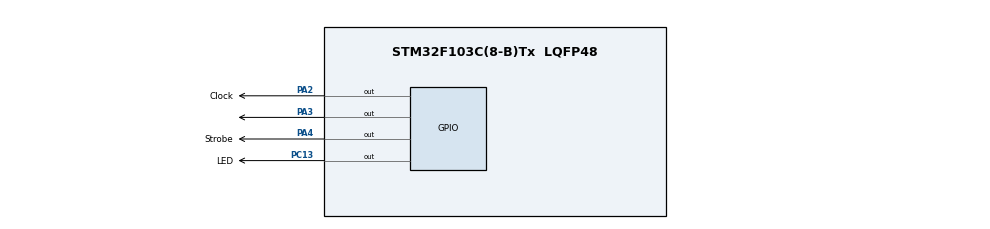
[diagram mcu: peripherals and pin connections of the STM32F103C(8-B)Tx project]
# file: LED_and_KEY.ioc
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Mcu.Family=STM32F1
Mcu.Name=STM32F103C(8-B)Tx
Mcu.Package=LQFP48
NVIC.PriorityGroup=NVIC_PRIORITYGROUP_4
PA13.Mode=Serial_Wire
PA13.Signal=SYS_JTMS-SWDIO
PA14.Mode=Serial_Wire
PA14.Signal=SYS_JTCK-SWCLK
PA2.GPIO_Label=Clock
PA2.Signal=GPIO_Output
PA3.Signal=GPIO_Output
PA4.GPIO_Label=Strobe
PA4.GPIO_PuPd=GPIO_PULLUP
PA4.Signal=GPIO_Output
PC13-TAMPER-RTC.GPIO_Label=LED
PC13-TAMPER-RTC.Signal=GPIO_Output
ProjectManager.HeapSize=0x200
ProjectManager.StackSize=0x400
ProjectManager.TargetToolchain=Makefile
RCC.APB1Freq_Value=8000000
RCC.APB2Freq_Value=8000000
board=custom

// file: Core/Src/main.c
/* USER CODE BEGIN Header */
/**
  ******************************************************************************
  * @file           : main.c
  * @brief          : Main program body
  ******************************************************************************
  * @attention
  *
  * <h2><center>&copy; Copyright (c) 2021 STMicroelectronics.
  * All rights reserved.</center></h2>
  *
  * This software component is licensed by ST under BSD 3-Clause license,
  * the "License"; You may not use this file except in compliance with the
  * License. You may obtain a copy of the License at:
  *                        opensource.org/licenses/BSD-3-Clause
  *
  ******************************************************************************
  */
/* USER CODE END Header */
#include "main.h"

void SystemClock_Config(void);
static void MX_GPIO_Init(void);

/* USER CODE BEGIN 0 */

// GPIO_PIN_2
#define CLOCK_PIN ((uint16_t)0x0004)
// GPIO_PIN_3
#define DATA_PIN ((uint16_t)0x0008)
// GPIO_PIN_4
#define CS_PIN ((uint16_t)0x0010)

void cs_high(){
  HAL_GPIO_WritePin(GPIOA, CS_PIN, GPIO_PIN_SET);
  HAL_Delay(10);
}

void cs_low(){
  HAL_GPIO_WritePin(GPIOA, CS_PIN, GPIO_PIN_RESET);
}

void clock_high(){
  HAL_GPIO_WritePin(GPIOA, CLOCK_PIN, GPIO_PIN_SET);
}

void clock_low(){
  HAL_GPIO_WritePin(GPIOA, CLOCK_PIN, GPIO_PIN_RESET);
}

// void send_byte(char data)
// {
//   for (int i = 0; i < 8; i++) {
//     digitalWrite(clockPin, LOW);
//     digitalWrite(dataPin, data & 1 ? HIGH : LOW);
//     data >>= 1;
//     digitalWrite(clockPin, HIGH);
//   }
// }

void send_byte(char data)
{
  for (int i = 0; i < 8; i++) {
    clock_low();

    HAL_GPIO_WritePin(GPIOA, DATA_PIN, data & 1 ? GPIO_PIN_SET : GPIO_PIN_RESET);

    data >>= 1;
    clock_high();
  }

  cs_low();
}

void send_byte_old(unsigned char b)
{
  unsigned char mask = 1;

  HAL_Delay(1);

  for (int i=0; i<8; i++){
    unsigned char d = b & mask;
    mask = mask << 1;

    // HAL_GPIO_WritePin(GPIOA, GPIO_PIN_4, GPIO_PIN_RESET);

    //HAL_GPIO_WritePin(GPIOA, GPIO_PIN_3, GPIO_PIN_SET);
    clock_low();

    if (d)
    {
      HAL_GPIO_WritePin(GPIOA, DATA_PIN, GPIO_PIN_SET);
    } else
    {
       HAL_GPIO_WritePin(GPIOA, DATA_PIN, GPIO_PIN_RESET);
    }

    clock_high();

    // HAL_Delay(1);
    //HAL_GPIO_WritePin(GPIOA, GPIO_PIN_3, GPIO_PIN_RESET);
    // HAL_Delay(1);
  }

  HAL_Delay(1);

  clock_low();
  HAL_GPIO_WritePin(GPIOA, DATA_PIN, GPIO_PIN_SET);
}

void fill(unsigned char data){
  cs_low();

  send_byte(0x40);
  send_byte(0xC0);

  for (int i=0; i<8; i++){
    send_byte(data);
    send_byte(0x0); //LED OFF
  }

  cs_high();
}

// void fill(char data){
//   send_byte(0x44);

//   for (int i=0; i<16; i++){
//     send_byte(0xC0 + i);
//     send_byte(data);
//   }
// }

void reset(){
  fill(0x0);
}

// 8-byte array
// void display(unsigned char data[]){

//   for (unsigned char i=0; i<8; i++){
//     unsigned char *pointer = data;
//     pointer += i;

//     send_byte(0x44);
//     send_byte(0xC0 + 2*i);
//     send_byte(*pointer);
//   }
// }

// 8-byte array
void display(unsigned char data[]){
  cs_low();

  send_byte(0x40);
  send_byte(0xC0);

  for (int i=0; i<8; i++){
    send_byte(data[i]);
    send_byte(0x0); //LED OFF
  }

  cs_high();
}

/* USER CODE END 0 */

int main(void)
{

  /* MCU Configuration--------------------------------------------------------*/

  /* Reset of all peripherals, Initializes the Flash interface and the Systick. */
  HAL_Init();

  /* Configure the system clock */
  SystemClock_Config();

  /* Initialize all configured peripherals */
  MX_GPIO_Init();

  /* Infinite loop */
  /* USER CODE BEGIN WHILE */
  // char n = 0;

//  char message[] = "Hello World!";

  // for (int i=0; i<sizeof(message); i++)
  // {
  //   send_byte(message[i]);
  // }

    HAL_Delay(100);

    HAL_GPIO_WritePin(GPIOA, GPIO_PIN_4, GPIO_PIN_RESET);

    send_byte(0x88); // 1/16 brightness

    // reset();

    // fill(0x7F);

    // send_byte(0x44); //Fixed address mode

    // send_byte(0xC0);
    // send_byte(0x00);
    //send_byte(0xFF);

    // HAL_GPIO_WritePin(GPIOA, GPIO_PIN_4, GPIO_PIN_SET);

    char n=0;

// unsigned char values[] = {0, 1, 2, 4, 8, 16, 32, 64, 128 };

unsigned char values[] = {0x3F, 0x06, 0x5B, 0x4F, 0x66, 0x6D, 0x7D, 0x07, 0x7F, 0x6F};

// HAL_GPIO_WritePin(GPIOA, GPIO_PIN_4, GPIO_PIN_SET);
    // send_byte(0x44);
    // send_byte(0xC0);
    // send_byte(values[0]);

    // send_byte(0x44);
    // send_byte(0xC2);
    // send_byte(values[1]);

  cs_low();
  clock_low();

  while (1)
  {
    /* USER CODE END WHILE */

    /* USER CODE BEGIN 3 */
    // send_byte(n);
    // unsigned char value = values[n];

    // display(values);
    // n++;

      // command_delay();

      // send_byte(0x40);
      // send_byte(0xCC);

      // send_byte(0x4F);
      // send_byte(0xFF);

      // command_delay();

      // send_byte(0x40);
      // send_byte(0xC2);
      // send_byte(0xFF);
      // send_byte(0x66);

      // command_delay();

      reset();
      // command_delay();

      HAL_Delay(500);

      display(values);

      // command_delay();

      HAL_Delay(500);

      // send_byte(0x40);
      // send_byte(0xC0);

      // send_byte(0x01);
      // send_byte(0xFF);

      // send_byte(0x3F);
      // send_byte(0x00);

      // send_byte(0x06);
      // send_byte(0x00);

      // send_byte(0x5B);
      // send_byte(0x00);

      // send_byte(0x4F);
      // send_byte(0x00);

      // send_byte(0x66);
      // send_byte(0x00);

      // send_byte(0x6D);
      // send_byte(0x00);

      // send_byte(0x7D);
      // send_byte(0x00);

      // send_byte(0x07);
      // send_byte(0x00);

      // fill(0xFF);
      // fill(0x3F);

      // display(values);

      // command_delay();

    if (n>sizeof(values))
    {
      n=0;
    }
    // reset();

    // HAL_Delay(500);

    // send_byte(0x00);
    // send_byte(0x89);

    // send_byte(0xC0);
    // send_byte(0xFF);
  }
  /* USER CODE END 3 */
}

void SystemClock_Config(void)
{
  RCC_OscInitTypeDef RCC_OscInitStruct = {0};
  RCC_ClkInitTypeDef RCC_ClkInitStruct = {0};

  /** Initializes the RCC Oscillators according to the specified parameters
  * in the RCC_OscInitTypeDef structure.
  */
  RCC_OscInitStruct.OscillatorType = RCC_OSCILLATORTYPE_HSI;
  RCC_OscInitStruct.HSIState = RCC_HSI_ON;
  RCC_OscInitStruct.HSICalibrationValue = RCC_HSICALIBRATION_DEFAULT;
  RCC_OscInitStruct.PLL.PLLState = RCC_PLL_NONE;
  if (HAL_RCC_OscConfig(&RCC_OscInitStruct) != HAL_OK)
  {
    Error_Handler();
  }
  /** Initializes the CPU, AHB and APB buses clocks
  */
  RCC_ClkInitStruct.ClockType = RCC_CLOCKTYPE_HCLK|RCC_CLOCKTYPE_SYSCLK
                              |RCC_CLOCKTYPE_PCLK1|RCC_CLOCKTYPE_PCLK2;
  RCC_ClkInitStruct.SYSCLKSource = RCC_SYSCLKSOURCE_HSI;
  RCC_ClkInitStruct.AHBCLKDivider = RCC_SYSCLK_DIV1;
  RCC_ClkInitStruct.APB1CLKDivider = RCC_HCLK_DIV1;
  RCC_ClkInitStruct.APB2CLKDivider = RCC_HCLK_DIV1;

  if (HAL_RCC_ClockConfig(&RCC_ClkInitStruct, FLASH_LATENCY_0) != HAL_OK)
  {
    Error_Handler();
  }
}

static void MX_GPIO_Init(void)
{
  GPIO_InitTypeDef GPIO_InitStruct = {0};

  /* GPIO Ports Clock Enable */
  __HAL_RCC_GPIOC_CLK_ENABLE();
  __HAL_RCC_GPIOA_CLK_ENABLE();

  /*Configure GPIO pin Output Level */
  HAL_GPIO_WritePin(LED_GPIO_Port, LED_Pin, GPIO_PIN_RESET);

  /*Configure GPIO pin Output Level */
  HAL_GPIO_WritePin(GPIOA, Clock_Pin|GPIO_PIN_3|Strobe_Pin, GPIO_PIN_RESET);

  /*Configure GPIO pin : LED_Pin */
  GPIO_InitStruct.Pin = LED_Pin;
  GPIO_InitStruct.Mode = GPIO_MODE_OUTPUT_PP;
  GPIO_InitStruct.Pull = GPIO_NOPULL;
  GPIO_InitStruct.Speed = GPIO_SPEED_FREQ_LOW;
  HAL_GPIO_Init(LED_GPIO_Port, &GPIO_InitStruct);

  /*Configure GPIO pins : Clock_Pin PA3 */
  GPIO_InitStruct.Pin = Clock_Pin|GPIO_PIN_3;
  GPIO_InitStruct.Mode = GPIO_MODE_OUTPUT_PP;
  GPIO_InitStruct.Pull = GPIO_NOPULL;
  GPIO_InitStruct.Speed = GPIO_SPEED_FREQ_LOW;
  HAL_GPIO_Init(GPIOA, &GPIO_InitStruct);

  /*Configure GPIO pin : Strobe_Pin */
  GPIO_InitStruct.Pin = Strobe_Pin;
  GPIO_InitStruct.Mode = GPIO_MODE_OUTPUT_PP;
  GPIO_InitStruct.Pull = GPIO_PULLUP;
  GPIO_InitStruct.Speed = GPIO_SPEED_FREQ_LOW;
  HAL_GPIO_Init(Strobe_GPIO_Port, &GPIO_InitStruct);

}

void Error_Handler(void)
{
  __disable_irq();
  while (1)
  {
  }
}

/************************ (C) COPYRIGHT STMicroelectronics *****END OF FILE****/
